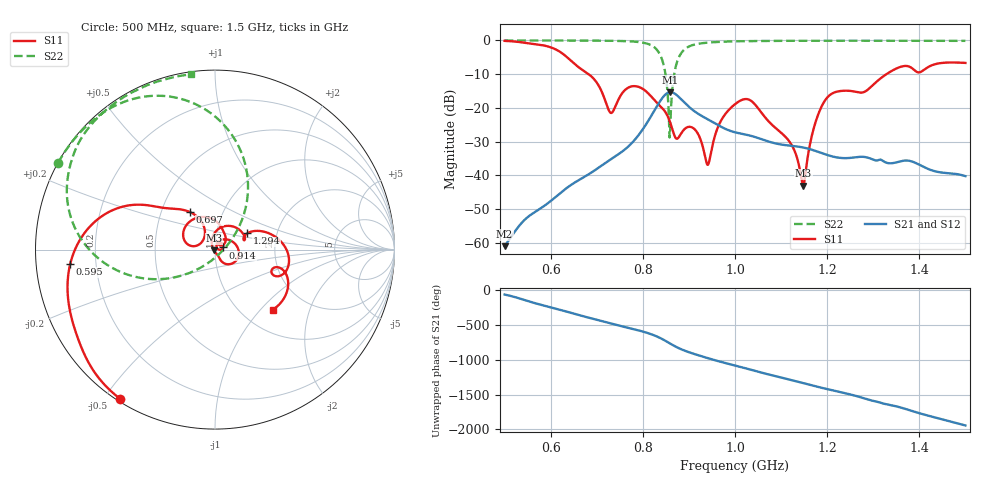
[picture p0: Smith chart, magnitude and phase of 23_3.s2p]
! TOUCHSTONE file generated by CST MICROWAVE STUDIO
! Date and time: Fri Oct 30 07:57:57 2020
! Project name: Scenario_1_Circular_Tissue_out_of_Line.cst
! Parameters = {dy1=35.502; L_HA=400; MT=2.54; Rad_Dielectric=30; Rad_Lower=7.3; Rad_Upper=30; a_HA=580; a_WG=246; b_HA=500; b_WG=121; c_HA=0; c_WG=187; d_feed=85; dx1=520; h_feed=15; h_lower=18; h_upper=40}
! Header version: 2018
! Port assignment regex: !\s*Touchstone port\s*([0-9]+)\s*=\s*(CST MWS port|CST DS port)\s*([0-9]+|Zmin|Zmax)\s*\(\"(.*)\"\)(\s*mode\s*([0-9]+))?.*
! Touchstone port assignment:
! Touchstone port 1 = CST MWS port 1 ("")
! Touchstone port 2 = CST MWS port 2 ("")
# GHz S DB R 50
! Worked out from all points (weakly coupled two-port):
!   1001 points, 500 MHz to 1.5 GHz, reference 50 ohm
!   highest |S21| = -15.33 dB at 860 MHz (marker M1); lowest = -61.0 dB at 500 MHz (marker M2)
!   lowest |S11| = -43.1 dB at 1.148 GHz (marker M3), VSWR 1.01, Z = 49.4 - j0.333 ohm
!   |S11| at or under -10 dB: 682.4 MHz to 1.329 GHz (646.2 MHz wide, 64.3 % of centre)
!   |S22| runs from -28.8 to 0.0 dB; largest |S21 - S12| = 0.0024
!   S11 on the Smith chart (normalised r, x): 500 MHz: 0.01, -0.55; 595 MHz: 0.10, -0.05; 697 MHz: 0.70, +0.31; 914 MHz: 1.10, +0.03; 1.294 GHz: 1.41, +0.27; 1.5 GHz: 1.37, -1.17
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0.5  -0.13 -122.5  -60.98 -60.4  -60.98 -60.4  -0.01 151.1
0.595  -1.82 -174.3  -48.14 124.6  -48.14 124.6  -0.02 144.5
0.667  -8.57 141.3  -40.93 -6.0  -40.93 -6.0  -0.04 138.4
0.697  -11.94 124.0  -38.38 -57.9  -38.38 -57.9  -0.06 135.2
0.73  -21.46 141.9  -35.28 -115.5  -35.28 -115.5  -0.11 130.9
0.777  -13.58 140.9  -30.28 167.0  -30.28 167.0  -0.31 121.2
0.834  -18.98 65.5  -18.74 46.0  -18.74 46.0  -3.42 84.0
0.846  -20.69 50.6  -16.44 5.5  -16.44 5.5  -7.78 63.2
0.86  -24.57 31.3  -15.33 -48.1  -15.33 -48.1  -23.59 -109.0
0.876  -29.01 51.2  -16.50 -105.4  -16.50 -105.4  -5.71 -165.0
0.914  -26.55 14.6  -21.19 159.7  -21.19 159.7  -1.16 160.5
0.941  -36.87 34.0  -23.40 104.9  -23.40 104.9  -0.65 151.0
0.966  -24.76 61.0  -25.31 57.3  -25.31 57.3  -0.43 145.6
1  -18.90 18.9  -27.23 -0.7  -27.23 -0.7  -0.27 140.2
1.034  -17.81 -33.2  -28.26 -61.0  -28.25 -61.0  -0.20 136.1
1.112  -28.94 -64.0  -31.08 166.8  -31.07 167.0  -0.12 128.7
1.148  -43.07 -151.3  -31.74 105.7  -31.73 105.8  -0.10 125.7
1.167  -28.11 116.9  -32.41 73.0  -32.42 73.0  -0.10 124.2
1.205  -16.28 59.7  -34.16 12.2  -34.21 12.2  -0.08 121.2
1.294  -13.89 26.7  -35.02 -139.8  -34.98 -138.7  -0.08 114.5
1.334  -9.53 13.7  -36.40 154.6  -36.42 153.6  -0.08 111.4
1.5  -6.66 -46.0  -40.23 -143.1  -40.21 -143.0  -0.13 97.8
